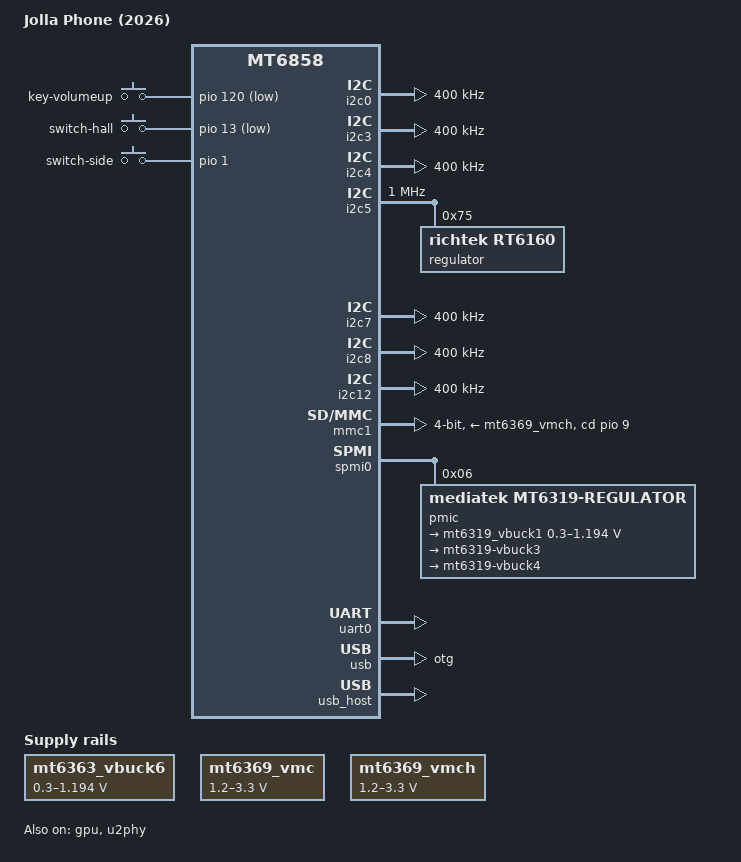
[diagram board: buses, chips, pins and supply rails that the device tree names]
// SPDX-License-Identifier: (GPL-2.0 OR MIT)
/*
 * Copyright (C) 2026 Jolla Mobile Ltd
 */

/dts-v1/;
#include <dt-bindings/gpio/gpio.h>
#include <dt-bindings/input/linux-event-codes.h>

#include "mt6858.dtsi"
#include "mt6363.dtsi"
#include "mt6369.dtsi"

/ {
	model = "Jolla Phone (2026)";
	compatible = "jolla,jp2601", "mediatek,mt6858";

	aliases {
		i2c0 = &i2c0;
		i2c3 = &i2c3;
		i2c4 = &i2c4;
		i2c5 = &i2c5;
		i2c7 = &i2c7;
		i2c8 = &i2c8;
		i2c12 = &i2c12;
		serial0 = &uart0;
	};

	chosen {
		stdout-path = "serial0:921600n8";
	};

	memory@40000000 {
		device_type = "memory";
		/* Bootloader fills this in based on hardware variant */
		reg = <0x0 0x40000000 0x0 0x0>;
	};

	reserved-memory {
		#address-cells = <2>;
		#size-cells = <2>;
		ranges;

		/*
		 * Reserved memory regions are allocated dynamically, and their
		 * locations and sizes may vary depending on the firmware build
		 * and the memory size. This node must exist for the bootloader
		 * to fill them in.
		 */
	};

	gpio-keys {
		compatible = "gpio-keys";

		key-volumeup {
			gpios = <&pio 120 GPIO_ACTIVE_LOW>;
			debounce-interval = <16>;
			linux,code = <KEY_VOLUMEUP>;
			wakeup-source;
		};

		switch-hall {
			gpios = <&pio 13 GPIO_ACTIVE_LOW>;
			debounce-interval = <125>;
			linux,input-type = <EV_SW>;
			linux,code = <SW_LID>;
			wakeup-source;
		};

		switch-side {
			gpios = <&pio 1 GPIO_ACTIVE_HIGH>;
			debounce-interval = <100>;
			linux,input-type = <EV_SW>;
			linux,code = <SW_MUTE_DEVICE>;
			wakeup-source;
		};
	};
};

&cpu0 {
	cpu-supply = <&mt6363_vbuck6>;
};

&cpu1 {
	cpu-supply = <&mt6363_vbuck6>;
};

&cpu2 {
	cpu-supply = <&mt6363_vbuck6>;
};

&cpu3 {
	cpu-supply = <&mt6363_vbuck6>;
};

&cpu4 {
	cpu-supply = <&mt6319_vbuck1>;
};

&cpu5 {
	cpu-supply = <&mt6319_vbuck1>;
};

&cpu6 {
	cpu-supply = <&mt6319_vbuck1>;
};

&cpu7 {
	cpu-supply = <&mt6319_vbuck1>;
};

&gpu {
	status = "okay";
};

&gpufreq {
	/* The bootloader should enable this after assigning a memory region. */
};

&i2c0 {
	clock-frequency = <400000>;
	pinctrl-names = "default";
	pinctrl-0 = <&i2c0_pins>;
	status = "okay";

	/* TOH connector */
};

&i2c3 {
	clock-frequency = <400000>;
	pinctrl-names = "default";
	pinctrl-0 = <&i2c3_pins>;
	status = "okay";

	/* 0x08: NFC */
};

&i2c4 {
	clock-frequency = <400000>;
	pinctrl-names = "default";
	pinctrl-0 = <&i2c4_pins>;
	status = "okay";

	/* 0x1a: Front camera */
	/* 0x51: Front camera EEPROM */
};

&i2c5 {
	clock-frequency = <1000000>;
	pinctrl-names = "default";
	pinctrl-0 = <&i2c5_pins>;

	#address-cells = <1>;
	#size-cells = <0>;

	status = "okay";

	/* 0x34 etc.: MT6720 PMIC */

	/* connectivity supply */
	regulator@75 {
		compatible = "richtek,rt6160";
		reg = <0x75>;
		regulator-name = "rt6160-buckboost";
		regulator-min-microvolt = <3450000>;
		regulator-max-microvolt = <3650000>;
		regulator-always-on;
	};
};

&i2c7 {
	clock-frequency = <400000>;
	pinctrl-names = "default";
	pinctrl-0 = <&i2c7_pins>;
	status = "okay";

	/* 0x0c: Second camera focus */
	/* 0x10: Second camera */
	/* 0x50: Second camera EEPROM */
};

&i2c8 {
	clock-frequency = <400000>;
	pinctrl-names = "default";
	pinctrl-0 = <&i2c8_pins>;
	status = "okay";

	/* 0x0c: Main camera focus */
	/* 0x1a: Main camera */
	/* 0x50: Main camera EEPROM */
};

&i2c12 {
	clock-frequency = <400000>;
	pinctrl-names = "default";
	pinctrl-0 = <&i2c12_pins>;
	status = "okay";

	/* 0x45: AW2023 LED controller */
};

&mmc1 {
	pinctrl-names = "default", "state_uhs";
	pinctrl-0 = <&mmc1_pins>;
	pinctrl-1 = <&mmc1_pins>;
	cd-gpios = <&pio 9 GPIO_ACTIVE_HIGH>;
	vmmc-supply = <&mt6369_vmch>;
	vqmmc-supply = <&mt6369_vmc>;
	max-frequency = <200000000>;
	bus-width = <4>;
	cap-sd-highspeed;
	sd-uhs-sdr12;
	sd-uhs-sdr25;
	sd-uhs-sdr50;
	sd-uhs-sdr104;
	sd-uhs-ddr50;
	no-sdio;
	no-mmc;

	status = "okay";
};

&mt6363_vbuck1 {
	regulator-always-on;
};

&mt6363_vbuck2 {
	regulator-always-on;
};

&mt6363_vbuck3 {
	regulator-always-on;
};

&mt6363_vbuck4 {
	regulator-always-on;
};

&mt6363_vbuck5 {
	regulator-always-on;
};

&mt6363_vbuck6 {
	regulator-min-microvolt = <300000>;
	regulator-max-microvolt = <1193750>;
	regulator-always-on;
};

&mt6363_vbuck7 {
	regulator-always-on;
};

&mt6363_vsram_digrf {
	regulator-always-on;
};

&mt6363_vsram_modem {
	regulator-always-on;
};

&mt6363_vsram_cpub {
	regulator-always-on;
};

&mt6363_vsram_cpum {
	regulator-always-on;
};

&mt6363_vsram_cpul {
	regulator-always-on;
};

&mt6363_vsram_apu {
	regulator-always-on;
};

&mt6363_vcn15 {
	regulator-always-on;
};

&mt6363_vufs18 {
	regulator-always-on;
};

&mt6363_vm18 {
	regulator-always-on;
};

&mt6363_vufs12 {
	regulator-always-on;
};

&mt6363_vrf12 {
	regulator-always-on;
};

&mt6369_vbuck1 {
	regulator-always-on;
};

&mt6369_vsram_core {
	regulator-always-on;
};

&mt6369_vaux18 {
	regulator-always-on;
};

&mt6369_vio28 {
	regulator-always-on;
};

&mt6369_vmc {
	regulator-min-microvolt = <1200000>;
	regulator-max-microvolt = <3300000>;
};

&mt6369_vmch {
	regulator-min-microvolt = <1200000>;
	regulator-max-microvolt = <3300000>;
};

&mt6369_vaud28 {
	regulator-always-on;
};

&pio {
	i2c0_pins: i2c0-pins {
		pins-bus {
			pinmux = <PINMUX_GPIO139__FUNC_SCL0>,
				 <PINMUX_GPIO140__FUNC_SDA0>;
			bias-pull-up = <MTK_PULL_SET_RSEL_001>;
			drive-strength = <4>;
			input-enable;
		};
	};

	i2c3_pins: i2c3-pins {
		pins-bus {
			pinmux = <PINMUX_GPIO145__FUNC_SCL3>,
				 <PINMUX_GPIO146__FUNC_SDA3>;
			bias-pull-up = <MTK_PULL_SET_RSEL_001>;
			drive-strength = <4>;
			input-enable;
		};
	};

	i2c4_pins: i2c4-pins {
		pins-bus {
			pinmux = <PINMUX_GPIO147__FUNC_SCL4>,
				 <PINMUX_GPIO148__FUNC_SDA4>;
			bias-pull-up = <MTK_PULL_SET_RSEL_001>;
			drive-strength = <4>;
			input-enable;
		};
	};

	i2c5_pins: i2c5-pins {
		pins-bus {
			pinmux = <PINMUX_GPIO149__FUNC_SCL5>,
				 <PINMUX_GPIO150__FUNC_SDA5>;
			bias-pull-up = <MTK_PULL_SET_RSEL_001>;
			drive-strength = <4>;
			input-enable;
		};
	};

	i2c7_pins: i2c7-pins {
		pins-bus {
			pinmux = <PINMUX_GPIO153__FUNC_SCL7>,
				 <PINMUX_GPIO154__FUNC_SDA7>;
			bias-pull-up = <MTK_PULL_SET_RSEL_001>;
			drive-strength = <4>;
			input-enable;
		};
	};

	i2c8_pins: i2c8-pins {
		pins-bus {
			pinmux = <PINMUX_GPIO155__FUNC_SCL8>,
				 <PINMUX_GPIO156__FUNC_SDA8>;
			bias-pull-up = <MTK_PULL_SET_RSEL_001>;
			drive-strength = <4>;
			input-enable;
		};
	};

	i2c12_pins: i2c12-pins {
		pins-bus {
			pinmux = <PINMUX_GPIO163__FUNC_SCL12>,
				 <PINMUX_GPIO164__FUNC_SDA12>;
			bias-pull-up = <MTK_PULL_SET_RSEL_001>;
			drive-strength = <4>;
			input-enable;
		};
	};

	mmc1_pins: mmc1-pins {
		pins-cmd-dat {
			pinmux = <PINMUX_GPIO83__FUNC_MSDC1_CMD>,
				 <PINMUX_GPIO84__FUNC_MSDC1_DAT0>,
				 <PINMUX_GPIO85__FUNC_MSDC1_DAT1>,
				 <PINMUX_GPIO86__FUNC_MSDC1_DAT2>,
				 <PINMUX_GPIO87__FUNC_MSDC1_DAT3>;
			bias-pull-up = <MTK_PUPD_SET_R1R0_01>;
			drive-strength = <8>;
			input-enable;
		};

		pins-clk {
			pinmux = <PINMUX_GPIO82__FUNC_MSDC1_CLK>;
			bias-pull-down = <MTK_PUPD_SET_R1R0_10>;
			drive-strength = <8>;
		};
	};

	uart0_pins: uart0-pins {
		pins {
			pinmux = <PINMUX_GPIO49__FUNC_UTXD0>,
				 <PINMUX_GPIO50__FUNC_URXD0>;
		};
	};
};

&spmi0 {
	pmic@6 {
		compatible = "mediatek,mt6319-regulator", "mediatek,mt6315-regulator";
		reg = <0x6 SPMI_USID>;

		regulators {
			mt6319_vbuck1: vbuck1 {
				regulator-name = "mt6319-vbuck1";
				regulator-min-microvolt = <300000>;
				regulator-max-microvolt = <1193750>;
				regulator-enable-ramp-delay = <256>;
				regulator-allowed-modes = <0 1 2>;
				regulator-always-on;
			};

			vbuck3 {
				regulator-name = "mt6319-vbuck3";
				regulator-enable-ramp-delay = <256>;
				regulator-allowed-modes = <0 1 2>;
			};

			vbuck4 {
				regulator-name = "mt6319-vbuck4";
				regulator-enable-ramp-delay = <256>;
				regulator-allowed-modes = <0 1 2>;
			};
		};
	};
};

&u2phy {
	status = "okay";
};

&uart0 {
	pinctrl-names = "default";
	pinctrl-0 = <&uart0_pins>;
	status = "okay";
};

&usb {
	vusb33-supply = <&mt6369_vusb>;
	maximum-speed = "high-speed";
	dr_mode = "otg";
	usb-role-switch;
	role-switch-default-mode = "peripheral";

	status = "okay";
};

&usb_host {
	status = "okay";
};
